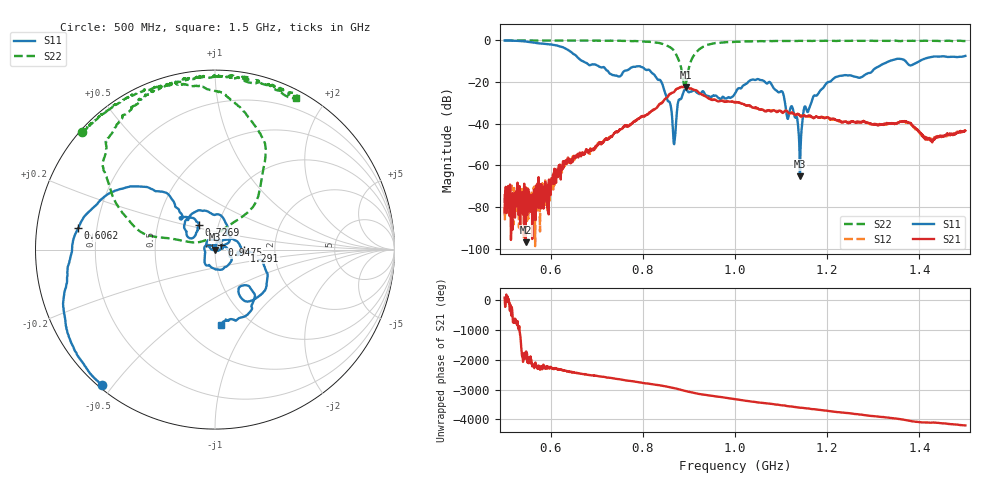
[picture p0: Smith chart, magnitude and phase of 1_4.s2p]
!Agilent Technologies,E8364B,US42250235,A.06.04.32
!Agilent E8364B: A.06.04.32
!Date: Friday, January 15, 2021 14:49:12
!Correction: S11(Full 2 Port(1,2)) S21(Full 2 Port(1,2)) S12(Full 2 Port(1,2)) S22(Full 2 Port(1,2))
!S2P File: Measurements: S11, S21, S12, S22:
# Hz S  dB  R 50
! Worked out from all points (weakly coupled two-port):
!   1601 points, 500 MHz to 1.5 GHz, reference 50 ohm
!   highest |S21| = -22.35 dB at 894.4 MHz (marker M1); lowest = -96.8 dB at 545.6 MHz (marker M2)
!   lowest |S11| = -65.2 dB at 1.141 GHz (marker M3), VSWR 1.00, Z = 50.1 + j0.0159 ohm
!   |S11| at or under -10 dB: 669.2 MHz to 1.335 GHz (666 MHz wide, 66.5 % of centre); 1.37 GHz to 1.4 GHz (30.24 MHz wide, 2.18 % of centre)
!   |S22| runs from -23.0 to -0.1 dB; largest |S21 - S12| = 0.0049
!   S11 on the Smith chart (normalised r, x): 500 MHz: 0.01, -0.47; 606.2 MHz: 0.13, +0.08; 726.9 MHz: 0.81, +0.23; 947.5 MHz: 1.07, +0.05; 1.291 GHz: 1.39, -0.01; 1.5 GHz: 0.74, -0.76
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5e8  -0.14 -129.8  -82.39 86.6  -73.77 9.5  -0.13 138.5
5.45625e8  -0.61 -153.1  -96.82 54.2  -74.38 -79.0  -0.13 134.6
5.90625e8  -1.91 -177.9  -75.19 -132.8  -74.14 -81.0  -0.14 129.7
6.0625e8  -2.25 171.1  -67.94 -125.7  -63.96 -136.7  -0.17 127.8
6.66875e8  -9.74 132.8  -54.61 47.7  -55.28 45.2  -0.19 121.6
7.26875e8  -15.70 123.3  -46.98 -85.3  -47.01 -83.7  -0.23 113.8
8.3375e8  -19.07 54.7  -31.35 29.4  -31.27 27.6  -1.25 86.3
8.68125e8  -49.79 -144.2  -24.72 -72.5  -24.49 -76.0  -5.24 59.9
8.7875e8  -28.44 143.0  -22.88 -113.4  -22.83 -116.4  -10.00 48.3
8.94375e8  -23.88 109.4  -22.35 -174.8  -22.41 -177.4  -19.61 157.2
9.1125e8  -24.12 87.4  -23.88 127.9  -23.83 125.3  -7.13 165.8
9.475e8  -27.24 34.1  -28.34 31.9  -28.28 31.4  -1.86 139.3
1e9  -25.61 17.2  -29.76 -81.2  -29.58 -84.5  -0.77 120.4
1.07625e9  -20.18 -123.7  -33.96 121.0  -33.56 118.9  -0.41 108.2
1.125625e9  -32.99 93.5  -34.79 20.1  -35.02 18.2  -0.36 102.9
1.140625e9  -65.20 16.8  -36.02 -8.5  -35.86 -11.7  -0.29 100.3
1.150625e9  -32.02 86.0  -36.05 -23.1  -36.26 -28.4  -0.36 99.2
1.166875e9  -29.04 75.7  -36.74 -55.9  -36.85 -56.9  -0.36 97.2
1.290625e9  -15.70 -1.7  -39.72 83.8  -40.03 77.5  -0.27 83.6
1.33375e9  -10.14 -23.2  -40.05 12.6  -39.86 9.2  -0.31 79.1
1.426875e9  -8.02 -60.4  -48.22 -151.2  -47.32 -153.2  -0.34 70.3
1.5e9  -7.53 -85.3  -43.35 115.5  -43.14 104.4  -0.37 61.9
